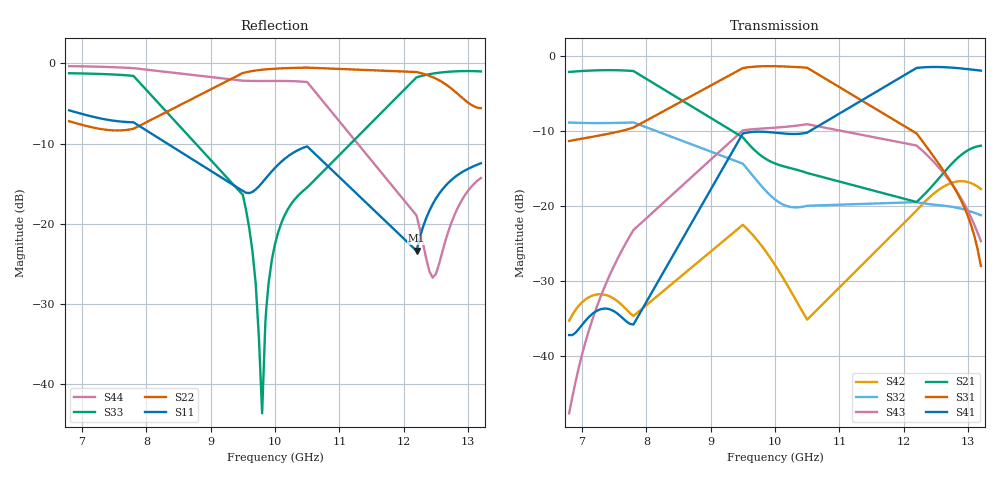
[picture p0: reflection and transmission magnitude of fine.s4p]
! yapnr rf: filterbank3-x7x10x13, footprint re-simulated (refine 2)
! spec sha256 13de688406c8ea8aa5a2983c7d9dfbef6bc7c31cd2b218bfb1531cd97a05cd76
! 4 ports renormalized to 50 ohm, e^(+jwt) convention
# GHz S RI R 50
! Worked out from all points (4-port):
!   69 points, 6.8 GHz to 13.2 GHz, reference 50 ohm
!   strongest paths, dB at 6.8 GHz, 7.55 GHz, 10 GHz, 12.45 GHz, 13.2 GHz:
!     S41: -37.1, -34.3, -10.2, -1.5, -2.0
!     S31: -11.3, -10.1, -1.4, -13.2, -28.0
!     S21: -2.2, -1.9, -14.3, -17.3, -12.0
!     S43: -47.6, -27.0, -9.6, -14.0, -24.7
!     S32: -8.9, -8.9, -19.1, -19.8, -21.2
!     S42: -35.2, -32.6, -27.8, -18.5, -17.7
!   lowest |S11| = -23.4 dB at 12.2 GHz (marker M1), VSWR 1.15, Z = 49.5 + j6.73 ohm
!   |S11| at or under -10 dB: 8.325 GHz to end of sweep
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6.8  0.1801 -0.4768  0.5824 0.5176  -0.1402 0.2307  0.0158 -0.00102
     0.5863 0.5143  0.4206 -0.1144  0.365 0.013  0.0174 -0.0199
     -0.1448 0.2288  0.3592 0.0112  -0.4968 -0.7129  0.000645 -0.0131
     0.0138 -0.00152  0.0113 -0.013  0.00365 -0.00206  -0.1457 0.9507
7.8  -0.1349 -0.4071  0.7035 -0.3663  -0.00266 0.3262  0.00661 0.0163
     0.6983 -0.371  -0.1353 -0.3663  0.1242 -0.3374  -0.017 -0.0228
     -0.00997 0.3327  0.1193 -0.3397  -0.7703 -0.3257  -0.0793 -0.0245
     0.0064 0.015  -0.00954 -0.016  -0.0655 -0.0226  0.8908 0.2825
9.5  -0.1584 0.0218  -0.2512 -0.126  0.811 0.0425  0.2967 0.0586
     -0.2553 -0.1295  -0.16 0.8573  -0.0365 0.1819  -0.0123 0.0717
     0.826 0.0418  -0.0338 0.1884  -0.0487 0.143  0.3177 0.0605
     0.2987 0.0565  -0.00409 0.0749  0.3139 0.0548  -0.7712 -0.12
9.8  -0.1791 -0.0183  -0.1906 -0.0788  0.7859 -0.2873  0.3071 -0.0696
     -0.1984 -0.0797  0.1835 0.8952  0.0708 0.1104  0.0248 0.0452
     0.7985 -0.2927  0.0754 0.1112  -0.00558 -0.0034  0.3127 -0.1241
     0.3035 -0.0731  0.0337 0.042  0.3023 -0.127  -0.746 0.2181
10.13333  -0.2488 0.0285  -0.1663 -0.0604  0.5964 -0.585  0.2613 -0.1693
          -0.1751 -0.056  0.5121 0.7801  0.0996 0.00753  0.0282 0.0114
          0.6056 -0.5937  0.1019 0.00265  -0.0207 -0.107  0.2046 -0.283
          0.2534 -0.1678  0.0327 0.00366  0.1892 -0.2772  -0.5788 0.519
12.2  -0.000205 0.0676  -0.1063 -0.0152  -0.2915 0.1061  -0.7879 -0.297
      -0.1042 -0.0217  0.2887 -0.8356  -0.0593 0.0574  -0.0371 0.0843
      -0.286 0.1044  -0.0808 0.069  -0.4771 -0.6659  -0.0539 0.2383
      -0.7736 -0.297  -0.0264 0.0896  -0.0242 0.2516  0.1124 -0.00199
13.2  0.2293 -0.064  -0.1902 0.1687  -0.0235 0.0466  -0.3383 0.732
      -0.1838 0.1725  -0.2954 0.4343  0.0679 0.0168  0.1088 -0.0755
      -0.0265 0.03  0.0839 0.0231  -0.8741 -0.1776  0.0184 0.0353
      -0.3402 0.7188  0.1008 -0.0819  0.0477 0.0339  0.012 0.1923
